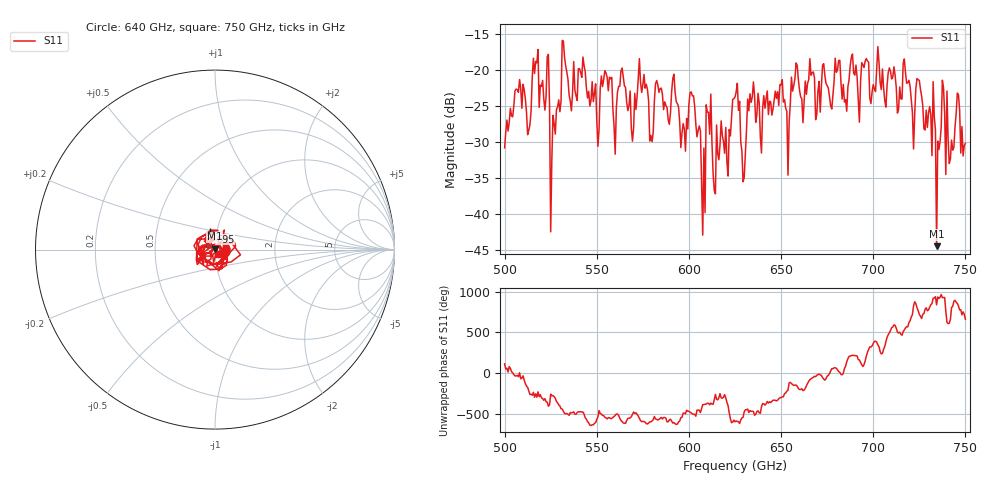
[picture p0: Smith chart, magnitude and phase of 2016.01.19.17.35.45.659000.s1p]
!Created with skrf (http://scikit-rf.org).
# GHz S RI R 50.0
!freq ReS11 ImS11
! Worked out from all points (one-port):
!   401 points, 500 GHz to 750 GHz, reference 50 ohm
!   lowest |S11| = -44.4 dB at 734.4 GHz (marker M1), VSWR 1.01, Z = 49.7 + j0.532 ohm
!   |S11| at or under -10 dB: start of sweep to end of sweep
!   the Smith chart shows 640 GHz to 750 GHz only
!   S11 on the Smith chart (normalised r, x): 640 GHz: 1.11, -0.03; 695 GHz: 0.93, +0.19; 750 GHz: 1.03, -0.05
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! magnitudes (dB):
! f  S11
! 500 GHz  -30.8
! 506.9 GHz  -22.7
! 513.1 GHz  -28.4
! 516.9 GHz  -18.8
! 523.1 GHz  -18.2
! 526.2 GHz  -26.3
! 531.2 GHz  -15.9
! 550 GHz  -27.0
! 562.5 GHz  -22.3
! 574.4 GHz  -23.1
! 579.4 GHz  -29.1
! 583.1 GHz  -22.1
! 593.8 GHz  -24.7
! 601.9 GHz  -23.6
! 607.5 GHz  -42.9
! 610.6 GHz  -25.9
! 614.4 GHz  -37.2
! 625 GHz  -23.8
! 629.4 GHz  -35.5
! 634.4 GHz  -23.8
! 640 GHz  -25.3
! 656.2 GHz  -22.9
! 687.5 GHz  -19.4
! 695 GHz  -19.7
! 718.8 GHz  -21.8
! 734.4 GHz  -44.4
! 737.5 GHz  -21.4
! 750 GHz  -30.2
